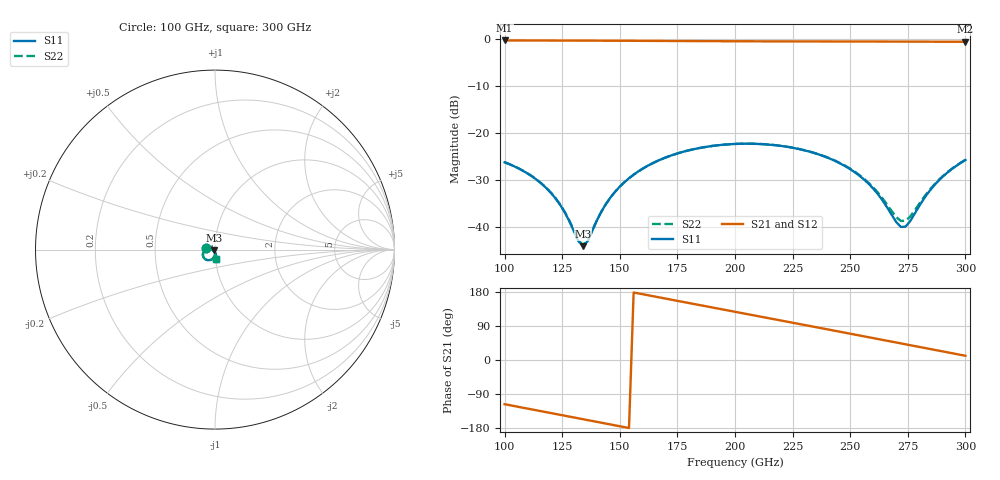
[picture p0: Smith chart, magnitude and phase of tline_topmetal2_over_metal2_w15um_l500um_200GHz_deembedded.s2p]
! Created with skrf 2.2.0 (http://scikit-rf.org).
# GHz S DB R 50.0
! Port[1] = P1
! Port[2] = P2
!freq dBS11 angS11 dBS21 angS21 dBS12 angS12 dBS22 angS22
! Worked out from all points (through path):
!   101 points, 100 GHz to 300 GHz, reference 50 ohm
!   highest |S21| = -0.30 dB at 100 GHz (marker M1); lowest = -0.6 dB at 300 GHz (marker M2)
!   group delay of S21, straight-line fit = 3.22 ps
!   lowest |S11| = -44.1 dB at 134 GHz (marker M3), VSWR 1.01, Z = 49.5 - j0.321 ohm
!   |S11| at or under -10 dB: start of sweep to end of sweep
!   |S22| runs from -43.9 to -22.3 dB; largest |S21 - S12| = 1.7e-12
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100  -26.25 169.8  -0.30 -116.7  -0.30 -116.7  -26.23 170.2
112  -29.29 158.5  -0.31 -130.6  -0.31 -130.6  -29.26 159.1
120  -32.71 154.2  -0.32 -139.9  -0.32 -139.9  -32.66 154.8
126  -36.82 157.1  -0.33 -146.9  -0.33 -146.9  -36.73 157.8
132  -43.02 -173.8  -0.34 -153.9  -0.34 -153.9  -42.79 -173.5
134  -44.11 -148.6  -0.34 -156.2  -0.34 -156.2  -43.90 -149.0
136  -43.08 -122.9  -0.34 -158.5  -0.34 -158.5  -42.96 -123.8
142  -36.76 -92.8  -0.35 -165.5  -0.35 -165.5  -36.76 -93.0
148  -32.49 -89.6  -0.36 -172.5  -0.36 -172.5  -32.50 -89.6
156  -28.89 -93.7  -0.38 178.2  -0.38 178.2  -28.90 -93.5
168  -25.61 -104.5  -0.41 164.2  -0.41 164.2  -25.61 -104.0
184  -23.27 -120.9  -0.44 145.7  -0.44 145.7  -23.26 -120.3
200  -22.35 -137.6  -0.47 127.2  -0.47 127.2  -22.34 -136.8
218  -22.65 -156.1  -0.50 106.5  -0.50 106.5  -22.63 -155.0
234  -24.22 -171.6  -0.51 88.0  -0.51 88.0  -24.18 -170.2
254  -29.10 173.7  -0.53 64.7  -0.53 64.7  -28.97 176.2
262  -33.02 174.7  -0.53 55.4  -0.53 55.4  -32.71 178.3
268  -37.42 -171.1  -0.54 48.5  -0.54 48.5  -36.65 -166.9
272  -40.02 -142.3  -0.54 43.8  -0.54 43.8  -38.74 -141.1
274  -39.96 -122.7  -0.55 41.5  -0.55 41.5  -38.71 -124.5
286  -31.42 -79.4  -0.56 27.5  -0.56 27.5  -31.25 -82.3
300  -25.78 -84.5  -0.59 11.2  -0.59 11.2  -25.74 -85.7
